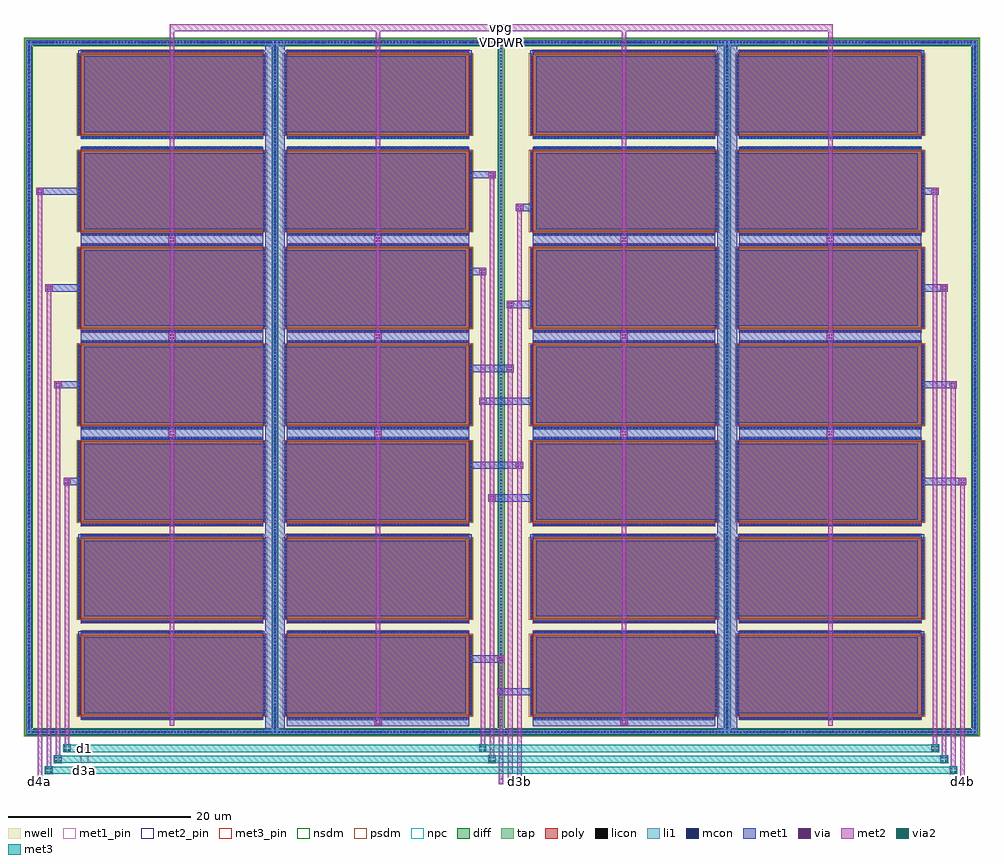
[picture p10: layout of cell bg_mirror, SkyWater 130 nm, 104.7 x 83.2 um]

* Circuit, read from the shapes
.subckt bg_mirror VDPWR d1 d2 d3a d3b d4a d4b d5 d7 vpg
XM1 VDPWR VDPWR VDPWR VDPWR sky130_fd_pr__pfet_01v8 w=8.8 l=20 m=10
XM2 VDPWR vpg d1 VDPWR sky130_fd_pr__pfet_01v8 w=8.8 l=20 m=4
XM3 VDPWR vpg d2 VDPWR sky130_fd_pr__pfet_01v8 w=8.8 l=20 m=4
XM4 VDPWR vpg d3a VDPWR sky130_fd_pr__pfet_01v8 w=8.8 l=20 m=2
XM5 VDPWR vpg d4a VDPWR sky130_fd_pr__pfet_01v8 w=8.8 l=20
XM6 d5 vpg VDPWR VDPWR sky130_fd_pr__pfet_01v8 w=8.8 l=20 m=2
XM7 d3b vpg VDPWR VDPWR sky130_fd_pr__pfet_01v8 w=8.8 l=20 m=2
XM8 d7 vpg VDPWR VDPWR sky130_fd_pr__pfet_01v8 w=8.8 l=20 m=2
XM9 d4b vpg VDPWR VDPWR sky130_fd_pr__pfet_01v8 w=8.8 l=20
.ends

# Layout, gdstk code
from math import pi, radians
import gdstk
lib = gdstk.Library(unit=1e-6, precision=1e-09)
def R(c, l, rs):  # rectangles x0, y0, x1, y1
    for r in rs: c.add(gdstk.rectangle(r[:2], r[2:], *l))
def A(c, l, x, y, w, h, nx, ny, dx, dy):  # array of equal rectangles
    R(c, l, [(x+i*dx, y+j*dy, x+i*dx+w, y+j*dy+h) for i in range(nx) for j in range(ny)])
nwell = (64, 20)
diff = (65, 20)
tap = (65, 44)
poly = (66, 20)
licon = (66, 44)
li1 = (67, 20)
mcon = (67, 44)
met1_pin = (68, 16)
met1 = (68, 20)
via = (68, 44)
met2_pin = (69, 16)
met2 = (69, 20)
via2 = (69, 44)
met3_pin = (70, 16)
met3 = (70, 20)
nsdm = (93, 44)
psdm = (94, 20)
npc = (95, 20)

sky130_fd_pr__pfet_01v8_ = lib.new_cell('sky130_fd_pr__pfet_01v8_FH8D84')
R(sky130_fd_pr__pfet_01v8_, nwell, [(-10.47,-4.9,10.47,4.9)])
R(sky130_fd_pr__pfet_01v8_, diff, [(-10.29,-4.4,10.29,4.4)])
R(sky130_fd_pr__pfet_01v8_, poly, [(-10,-4.885,10,4.885)])
A(sky130_fd_pr__pfet_01v8_, licon, -9.775, -4.805, 0.17, 0.17, 58, 2, 0.34, 9.44)
A(sky130_fd_pr__pfet_01v8_, licon, -10.23, -4.335, 0.17, 0.17, 1, 26, 0, 0.34)
A(sky130_fd_pr__pfet_01v8_, licon, 10.06, -4.335, 0.17, 0.17, 1, 26, 0, 0.34)
R(sky130_fd_pr__pfet_01v8_, li1, [(-10,-4.805,10,-4.635), (-10.23,-4.42,-10.06,4.42), (10.06,-4.42,10.23,4.42), (-10,4.635,10,4.805)])
A(sky130_fd_pr__pfet_01v8_, mcon, -9.805, -4.805, 0.17, 0.17, 55, 2, 0.36, 9.44)
A(sky130_fd_pr__pfet_01v8_, mcon, -10.23, -4.225, 0.17, 0.17, 1, 24, 0, 0.36)
A(sky130_fd_pr__pfet_01v8_, mcon, 10.06, -4.225, 0.17, 0.17, 1, 24, 0, 0.36)
R(sky130_fd_pr__pfet_01v8_, met1, [(-9.98,-4.835,9.98,-4.605), (-10.26,-4.4,-10.03,4.4), (10.03,-4.4,10.26,4.4), (-9.98,4.605,9.98,4.835)])
R(sky130_fd_pr__pfet_01v8_, psdm, [(-10.415,-4.525,10.415,4.525)])
R(sky130_fd_pr__pfet_01v8_, npc, [(-9.875,-4.905,9.875,-4.535), (-9.875,4.535,9.875,4.905)])
sky130_fd_pr__pfet_01v8_.add(gdstk.Label('G', (0,4.72), layer=67, texttype=5))
sky130_fd_pr__pfet_01v8_.add(gdstk.Label('S', (10.145,0), layer=67, texttype=5))
sky130_fd_pr__pfet_01v8_.add(gdstk.Label('D', (-10.145,0), layer=67, texttype=5))

bg_mirror_arr = lib.new_cell('bg_mirror_arr')
R(bg_mirror_arr, nwell, [(-0.25,-0.25,104.45,76.35)])
A(bg_mirror_arr, tap, 27, 0.6, 0.5, 74.9, 3, 1, 24.75, 0)
R(bg_mirror_arr, tap, [(0,0,104.2,0.6), (0,0.6,0.6,75.5), (103.6,0.6,104.2,75.5), (0,75.5,104.2,76.1)])
A(bg_mirror_arr, licon, 0.6, 0.215, 0.17, 0.17, 78, 2, 0.34, 75.5)
A(bg_mirror_arr, licon, 27.64, 0.215, 0.17, 0.17, 71, 2, 0.34, 75.5)
A(bg_mirror_arr, licon, 52.39, 0.215, 0.17, 0.17, 71, 2, 0.34, 75.5)
A(bg_mirror_arr, licon, 77.15, 0.215, 0.17, 0.17, 78, 2, 0.34, 75.5)
A(bg_mirror_arr, licon, 0.215, 0.565, 0.17, 0.17, 1, 221, 0, 0.34)
A(bg_mirror_arr, licon, 27.165, 0.565, 0.17, 0.17, 3, 221, 24.75, 0.34)
A(bg_mirror_arr, licon, 103.815, 0.565, 0.17, 0.17, 1, 221, 0, 0.34)
R(bg_mirror_arr, licon, [(0.215,0.215,0.385,0.385), (27.165,0.215,27.335,0.385), (51.915,0.215,52.085,0.385), (76.665,0.215,76.835,0.385), (103.815,0.215,103.985,0.385), (0.215,75.715,0.385,75.885), (27.165,75.715,27.335,75.885), (51.915,75.715,52.085,75.885), (76.665,75.715,76.835,75.885), (103.815,75.715,103.985,75.885)])
A(bg_mirror_arr, li1, 27, 0.6, 0.5, 74.9, 3, 1, 24.75, 0)
R(bg_mirror_arr, li1, [(0,0,104.2,0.6), (0,0.6,0.6,75.5), (103.6,0.6,104.2,75.5), (0,75.5,104.2,76.1)])
A(bg_mirror_arr, mcon, 0.73, 0.215, 0.17, 0.17, 73, 2, 0.36, 75.5)
A(bg_mirror_arr, mcon, 27.615, 0.215, 0.17, 0.17, 136, 2, 0.36, 75.5)
A(bg_mirror_arr, mcon, 77.1, 0.215, 0.17, 0.17, 74, 2, 0.36, 75.5)
A(bg_mirror_arr, mcon, 0.215, 0.705, 0.17, 0.17, 1, 208, 0, 0.36)
A(bg_mirror_arr, mcon, 27.165, 0.705, 0.17, 0.17, 1, 208, 0, 0.36)
A(bg_mirror_arr, mcon, 76.665, 0.705, 0.17, 0.17, 1, 208, 0, 0.36)
A(bg_mirror_arr, mcon, 103.815, 0.705, 0.17, 0.17, 1, 208, 0, 0.36)
R(bg_mirror_arr, mcon, [(0.215,0.215,0.385,0.385), (27.165,0.215,27.335,0.385), (76.665,0.215,76.835,0.385), (103.815,0.215,103.985,0.385), (0.215,75.715,0.385,75.885), (27.165,75.715,27.335,75.885), (76.665,75.715,76.835,75.885), (103.815,75.715,103.985,75.885)])
A(bg_mirror_arr, met1, 6.36, 2.35, 41.78, 8.3, 1, 7, 0, 10.6)
A(bg_mirror_arr, met1, 55.86, 2.35, 41.78, 8.3, 1, 7, 0, 10.6)
A(bg_mirror_arr, met1, 26.16, 31.85, 2.18, 2.3, 1, 4, 0, 10.6)
A(bg_mirror_arr, met1, 75.66, 31.85, 2.18, 2.3, 1, 4, 0, 10.6)
A(bg_mirror_arr, met1, 5.98, 32.305, 19.96, 1.39, 1, 3, 0, 10.6)
A(bg_mirror_arr, met1, 28.56, 32.305, 19.96, 1.39, 1, 3, 0, 10.6)
A(bg_mirror_arr, met1, 55.48, 32.305, 19.96, 1.39, 1, 3, 0, 10.6)
A(bg_mirror_arr, met1, 78.06, 32.305, 19.96, 1.39, 1, 3, 0, 10.6)
R(bg_mirror_arr, met1, [(0,0,104.2,0.6), (0,0.6,0.6,75.5), (26.16,0.6,28.34,2.35), (75.66,0.6,77.84,2.35), (103.6,0.6,104.2,75.5), (28.56,0.905,48.52,1.895), (55.48,0.905,75.44,1.895), (51.6,4.3,55.43,5.1), (48.57,7.9,52.4,8.7), (26.16,10.65,28.34,11.105), (75.66,10.65,77.84,11.105), (5.7,10.8,6.06,11.335), (97.94,10.8,98.3,11.335), (25.86,11.105,28.34,11.335), (75.66,11.105,78.14,11.335), (26.16,11.335,28.34,12.95), (75.66,11.335,77.84,12.95), (26.16,21.25,28.34,21.705), (75.66,21.25,77.84,21.705), (5.7,21.4,6.06,21.935), (48.44,21.4,48.8,21.935), (55.2,21.4,55.56,21.935), (97.94,21.4,98.3,21.935), (25.86,21.705,28.64,21.935), (75.36,21.705,78.14,21.935), (26.16,21.935,28.34,23.55), (75.66,21.935,77.84,23.55), (50.6,25.5,55.43,26.3), (4.1,27.3,5.93,28.1), (98.07,27.3,102.9,28.1), (48.57,29.1,54.4,29.9), (49.6,36.1,55.43,36.9), (3.1,37.9,5.93,38.7), (98.07,37.9,101.9,38.7), (48.57,39.7,53.4,40.5), (52.6,46.7,55.43,47.5), (2.1,48.5,5.93,49.3), (98.07,48.5,100.9,49.3), (48.57,50.3,50.4,51.1), (53.6,57.3,55.43,58.1), (1.1,59.1,5.93,59.9), (98.07,59.1,99.9,59.9), (48.57,60.9,51.4,61.7), (26.16,74.25,28.34,74.705), (75.66,74.25,77.84,74.705), (5.7,74.4,6.06,74.935), (48.44,74.4,48.8,74.935), (55.2,74.4,55.56,74.935), (97.94,74.4,98.3,74.935), (25.86,74.705,28.64,74.935), (75.36,74.705,78.14,74.935), (26.16,74.935,28.34,75.5), (75.66,74.935,77.84,75.5), (0,75.5,104.2,76.1)])
R(bg_mirror_arr, via, [(38.305,1.165,38.455,1.315), (38.625,1.165,38.775,1.315), (65.225,1.165,65.375,1.315), (65.545,1.165,65.695,1.315), (38.305,1.485,38.455,1.635), (38.625,1.485,38.775,1.635), (65.225,1.485,65.375,1.635), (65.545,1.485,65.695,1.635), (51.765,4.465,51.915,4.615), (52.085,4.465,52.235,4.615), (51.765,4.785,51.915,4.935), (52.085,4.785,52.235,4.935), (51.765,8.065,51.915,8.215), (52.085,8.065,52.235,8.215), (51.765,8.385,51.915,8.535), (52.085,8.385,52.235,8.535), (50.765,25.665,50.915,25.815), (51.085,25.665,51.235,25.815), (50.765,25.985,50.915,26.135), (51.085,25.985,51.235,26.135), (4.265,27.465,4.415,27.615), (4.585,27.465,4.735,27.615), (102.265,27.465,102.415,27.615), (102.585,27.465,102.735,27.615), (4.265,27.785,4.415,27.935), (4.585,27.785,4.735,27.935), (102.265,27.785,102.415,27.935), (102.585,27.785,102.735,27.935), (53.765,29.265,53.915,29.415), (54.085,29.265,54.235,29.415), (53.765,29.585,53.915,29.735), (54.085,29.585,54.235,29.735), (15.725,32.765,15.875,32.915), (16.045,32.765,16.195,32.915), (38.305,32.765,38.455,32.915), (38.625,32.765,38.775,32.915), (65.225,32.765,65.375,32.915), (65.545,32.765,65.695,32.915), (87.805,32.765,87.955,32.915), (88.125,32.765,88.275,32.915), (15.725,33.085,15.875,33.235), (16.045,33.085,16.195,33.235), (38.305,33.085,38.455,33.235), (38.625,33.085,38.775,33.235), (65.225,33.085,65.375,33.235), (65.545,33.085,65.695,33.235), (87.805,33.085,87.955,33.235), (88.125,33.085,88.275,33.235), (49.765,36.265,49.915,36.415), (50.085,36.265,50.235,36.415), (49.765,36.585,49.915,36.735), (50.085,36.585,50.235,36.735), (3.265,38.065,3.415,38.215), (3.585,38.065,3.735,38.215), (101.265,38.065,101.415,38.215), (101.585,38.065,101.735,38.215), (3.265,38.385,3.415,38.535), (3.585,38.385,3.735,38.535), (101.265,38.385,101.415,38.535), (101.585,38.385,101.735,38.535), (52.765,39.865,52.915,40.015), (53.085,39.865,53.235,40.015), (52.765,40.185,52.915,40.335), (53.085,40.185,53.235,40.335), (15.725,43.365,15.875,43.515), (16.045,43.365,16.195,43.515), (38.305,43.365,38.455,43.515), (38.625,43.365,38.775,43.515), (65.225,43.365,65.375,43.515), (65.545,43.365,65.695,43.515), (87.805,43.365,87.955,43.515), (88.125,43.365,88.275,43.515), (15.725,43.685,15.875,43.835), (16.045,43.685,16.195,43.835), (38.305,43.685,38.455,43.835), (38.625,43.685,38.775,43.835), (65.225,43.685,65.375,43.835), (65.545,43.685,65.695,43.835), (87.805,43.685,87.955,43.835), (88.125,43.685,88.275,43.835), (52.765,46.865,52.915,47.015), (53.085,46.865,53.235,47.015), (52.765,47.185,52.915,47.335), (53.085,47.185,53.235,47.335), (2.265,48.665,2.415,48.815), (2.585,48.665,2.735,48.815), (100.265,48.665,100.415,48.815), (100.585,48.665,100.735,48.815), (2.265,48.985,2.415,49.135), (2.585,48.985,2.735,49.135), (100.265,48.985,100.415,49.135), (100.585,48.985,100.735,49.135), (49.765,50.465,49.915,50.615), (50.085,50.465,50.235,50.615), (49.765,50.785,49.915,50.935), (50.085,50.785,50.235,50.935), (15.725,53.965,15.875,54.115), (16.045,53.965,16.195,54.115), (38.305,53.965,38.455,54.115), (38.625,53.965,38.775,54.115), (65.225,53.965,65.375,54.115), (65.545,53.965,65.695,54.115), (87.805,53.965,87.955,54.115), (88.125,53.965,88.275,54.115), (15.725,54.285,15.875,54.435), (16.045,54.285,16.195,54.435), (38.305,54.285,38.455,54.435), (38.625,54.285,38.775,54.435), (65.225,54.285,65.375,54.435), (65.545,54.285,65.695,54.435), (87.805,54.285,87.955,54.435), (88.125,54.285,88.275,54.435), (53.765,57.465,53.915,57.615), (54.085,57.465,54.235,57.615), (53.765,57.785,53.915,57.935), (54.085,57.785,54.235,57.935), (1.265,59.265,1.415,59.415), (1.585,59.265,1.735,59.415), (99.265,59.265,99.415,59.415), (99.585,59.265,99.735,59.415), (1.265,59.585,1.415,59.735), (1.585,59.585,1.735,59.735), (99.265,59.585,99.415,59.735), (99.585,59.585,99.735,59.735), (50.765,61.065,50.915,61.215), (51.085,61.065,51.235,61.215), (50.765,61.385,50.915,61.535), (51.085,61.385,51.235,61.535)])
A(bg_mirror_arr, met2, 15.56, 32.6, 0.8, 0.8, 1, 3, 0, 10.6)
A(bg_mirror_arr, met2, 38.14, 32.6, 0.8, 0.8, 1, 3, 0, 10.6)
A(bg_mirror_arr, met2, 65.06, 32.6, 0.8, 0.8, 1, 3, 0, 10.6)
A(bg_mirror_arr, met2, 87.64, 32.6, 0.8, 0.8, 1, 3, 0, 10.6)
R(bg_mirror_arr, met2, [(15.71,1,16.21,32.6), (38.14,1,38.94,1.8), (65.06,1,65.86,1.8), (87.79,1,88.29,32.6), (38.29,1.8,38.79,32.6), (65.21,1.8,65.71,32.6), (51.6,4.3,52.4,5.1), (51.6,7.9,52.4,8.7), (50.6,25.5,51.4,26.3), (4.1,27.3,4.9,28.1), (102.1,27.3,102.9,28.1), (53.6,29.1,54.4,29.9), (15.71,33.4,16.21,43.2), (38.29,33.4,38.79,43.2), (65.21,33.4,65.71,43.2), (87.79,33.4,88.29,43.2), (49.6,36.1,50.4,36.9), (3.1,37.9,3.9,38.7), (101.1,37.9,101.9,38.7), (52.6,39.7,53.4,40.5), (15.71,44,16.21,53.8), (38.29,44,38.79,53.8), (65.21,44,65.71,53.8), (87.79,44,88.29,53.8), (52.6,46.7,53.4,47.5), (2.1,48.5,2.9,49.3), (100.1,48.5,100.9,49.3), (49.6,50.3,50.4,51.1), (15.71,54.6,16.21,77), (38.29,54.6,38.79,77), (65.21,54.6,65.71,77), (87.79,54.6,88.29,77), (53.6,57.3,54.4,58.1), (1.1,59.1,1.9,59.9), (99.1,59.1,99.9,59.9), (50.6,60.9,51.4,61.7), (15.71,77,88.29,77.8)])
A(bg_mirror_arr, nsdm, 26.875, 0.725, 0.75, 74.65, 3, 1, 24.75, 0)
R(bg_mirror_arr, nsdm, [(-0.125,-0.125,104.325,0.725), (-0.125,0.725,0.725,75.375), (103.475,0.725,104.325,75.375), (-0.125,75.375,104.325,76.225)])
bg_mirror_arr.add(gdstk.Reference(sky130_fd_pr__pfet_01v8_, (65.46,48.9)))
bg_mirror_arr.add(gdstk.Reference(sky130_fd_pr__pfet_01v8_, (65.46,6.5)))
bg_mirror_arr.add(gdstk.Reference(sky130_fd_pr__pfet_01v8_, (15.96,59.5)))
bg_mirror_arr.add(gdstk.Reference(sky130_fd_pr__pfet_01v8_, (88.04,27.7), rotation=pi, x_reflection=True))
bg_mirror_arr.add(gdstk.Reference(sky130_fd_pr__pfet_01v8_, (88.04,38.3), rotation=pi, x_reflection=True))
bg_mirror_arr.add(gdstk.Reference(sky130_fd_pr__pfet_01v8_, (15.96,48.9)))
bg_mirror_arr.add(gdstk.Reference(sky130_fd_pr__pfet_01v8_, (38.54,59.5), rotation=pi, x_reflection=True))
bg_mirror_arr.add(gdstk.Reference(sky130_fd_pr__pfet_01v8_, (88.04,59.5), rotation=pi, x_reflection=True))
bg_mirror_arr.add(gdstk.Reference(sky130_fd_pr__pfet_01v8_, (38.54,38.3), rotation=pi, x_reflection=True))
bg_mirror_arr.add(gdstk.Reference(sky130_fd_pr__pfet_01v8_, (38.54,27.7), rotation=pi, x_reflection=True))
bg_mirror_arr.add(gdstk.Reference(sky130_fd_pr__pfet_01v8_, (15.96,6.5)))
bg_mirror_arr.add(gdstk.Reference(sky130_fd_pr__pfet_01v8_, (15.96,38.3)))
bg_mirror_arr.add(gdstk.Reference(sky130_fd_pr__pfet_01v8_, (65.46,17.1)))
bg_mirror_arr.add(gdstk.Reference(sky130_fd_pr__pfet_01v8_, (15.96,17.1)))
bg_mirror_arr.add(gdstk.Reference(sky130_fd_pr__pfet_01v8_, (15.96,70.1)))
bg_mirror_arr.add(gdstk.Reference(sky130_fd_pr__pfet_01v8_, (38.54,17.1), rotation=pi, x_reflection=True))
bg_mirror_arr.add(gdstk.Reference(sky130_fd_pr__pfet_01v8_, (15.96,27.7)))
bg_mirror_arr.add(gdstk.Reference(sky130_fd_pr__pfet_01v8_, (65.46,38.3)))
bg_mirror_arr.add(gdstk.Reference(sky130_fd_pr__pfet_01v8_, (65.46,27.7)))
bg_mirror_arr.add(gdstk.Reference(sky130_fd_pr__pfet_01v8_, (38.54,70.1), rotation=pi, x_reflection=True))
bg_mirror_arr.add(gdstk.Reference(sky130_fd_pr__pfet_01v8_, (38.54,6.5), rotation=pi, x_reflection=True))
bg_mirror_arr.add(gdstk.Reference(sky130_fd_pr__pfet_01v8_, (38.54,48.9), rotation=pi, x_reflection=True))
bg_mirror_arr.add(gdstk.Reference(sky130_fd_pr__pfet_01v8_, (65.46,70.1)))
bg_mirror_arr.add(gdstk.Reference(sky130_fd_pr__pfet_01v8_, (88.04,6.5), rotation=pi, x_reflection=True))
bg_mirror_arr.add(gdstk.Reference(sky130_fd_pr__pfet_01v8_, (65.46,59.5)))
bg_mirror_arr.add(gdstk.Reference(sky130_fd_pr__pfet_01v8_, (88.04,48.9), rotation=pi, x_reflection=True))
bg_mirror_arr.add(gdstk.Reference(sky130_fd_pr__pfet_01v8_, (88.04,17.1), rotation=pi, x_reflection=True))
bg_mirror_arr.add(gdstk.Reference(sky130_fd_pr__pfet_01v8_, (88.04,70.1), rotation=pi, x_reflection=True))

bg_mirror = lib.new_cell('bg_mirror')
R(bg_mirror, met1_pin, [(51.6,75.6,52.4,76)])
R(bg_mirror, met1, [(51,75.5,53,76.1)])
A(bg_mirror, met2_pin, 51.75, -5.4, 0.5, 0.6, 3, 1, 1, 0)
R(bg_mirror, met2_pin, [(1.25,-5.4,1.75,-4.8), (102.25,-5.4,102.75,-4.8), (51.6,77,52.4,77.8)])
R(bg_mirror, met2, [(1.25,-5.4,1.75,59.9), (51.75,-5.4,52.25,8.7), (52.75,-5.4,53.25,47.5), (53.75,-5.4,54.25,58.1), (102.25,-5.4,102.75,28.1), (2.1,-4.3,2.9,-3.5), (101.1,-4.3,101.9,-3.5), (2.25,-3.5,2.75,49.3), (101.25,-3.5,101.75,38.7), (3.1,-3.1,3.9,-2.3), (50.6,-3.1,51.4,-2.3), (100.1,-3.1,100.9,-2.3), (3.25,-2.3,3.75,38.7), (50.75,-2.3,51.25,61.7), (100.25,-2.3,100.75,49.3), (4.1,-1.9,4.9,-1.1), (49.6,-1.9,50.4,-1.1), (99.1,-1.9,99.9,-1.1), (4.25,-1.1,4.75,28.1), (49.75,-1.1,50.25,51.1), (99.25,-1.1,99.75,59.9), (51.6,77,52.4,77.8)])
R(bg_mirror, via2, [(2.2,-4.2,2.4,-4), (2.6,-4.2,2.8,-4), (101.2,-4.2,101.4,-4), (101.6,-4.2,101.8,-4), (2.2,-3.8,2.4,-3.6), (2.6,-3.8,2.8,-3.6), (101.2,-3.8,101.4,-3.6), (101.6,-3.8,101.8,-3.6), (3.2,-3,3.4,-2.8), (3.6,-3,3.8,-2.8), (50.7,-3,50.9,-2.8), (51.1,-3,51.3,-2.8), (100.2,-3,100.4,-2.8), (100.6,-3,100.8,-2.8), (3.2,-2.6,3.4,-2.4), (3.6,-2.6,3.8,-2.4), (50.7,-2.6,50.9,-2.4), (51.1,-2.6,51.3,-2.4), (100.2,-2.6,100.4,-2.4), (100.6,-2.6,100.8,-2.4), (4.2,-1.8,4.4,-1.6), (4.6,-1.8,4.8,-1.6), (49.7,-1.8,49.9,-1.6), (50.1,-1.8,50.3,-1.6), (99.2,-1.8,99.4,-1.6), (99.6,-1.8,99.8,-1.6), (4.2,-1.4,4.4,-1.2), (4.6,-1.4,4.8,-1.2), (49.7,-1.4,49.9,-1.2), (50.1,-1.4,50.3,-1.2), (99.2,-1.4,99.4,-1.2), (99.6,-1.4,99.8,-1.2)])
A(bg_mirror, met3_pin, 6, -4.3, 0.8, 0.8, 1, 3, 0, 1.2)
R(bg_mirror, met3, [(2.05,-4.35,2.95,-4.3), (101.05,-4.35,101.95,-4.3), (2.05,-4.3,101.95,-3.5), (2.05,-3.5,2.95,-3.45), (101.05,-3.5,101.95,-3.45), (3.05,-3.15,3.95,-3.1), (50.55,-3.15,51.45,-3.1), (100.05,-3.15,100.95,-3.1), (3.05,-3.1,100.95,-2.3), (3.05,-2.3,3.95,-2.25), (50.55,-2.3,51.45,-2.25), (100.05,-2.3,100.95,-2.25), (4.05,-1.95,4.95,-1.9), (49.55,-1.95,50.45,-1.9), (99.05,-1.95,99.95,-1.9), (4.05,-1.9,99.95,-1.1), (4.05,-1.1,4.95,-1.05), (49.55,-1.1,50.45,-1.05), (99.05,-1.1,99.95,-1.05)])
bg_mirror.add(gdstk.Reference(bg_mirror_arr, (0,0)))
bg_mirror.add(gdstk.Label('vpg', (52,77.4), layer=69, texttype=5))
bg_mirror.add(gdstk.Label('d3b', (54,-5.1), layer=69, texttype=5))
bg_mirror.add(gdstk.Label('d4b', (102.5,-5.1), layer=69, texttype=5))
bg_mirror.add(gdstk.Label('d7', (53,-5.1), layer=69, texttype=5))
bg_mirror.add(gdstk.Label('d5', (52,-5.1), layer=69, texttype=5))
bg_mirror.add(gdstk.Label('d4a', (1.5,-5.1), layer=69, texttype=5))
bg_mirror.add(gdstk.Label('VDPWR', (52,75.8), layer=68, texttype=5))
bg_mirror.add(gdstk.Label('d3a', (6.4,-3.9), layer=70, texttype=5))
bg_mirror.add(gdstk.Label('d2', (6.4,-2.7), layer=70, texttype=5))
bg_mirror.add(gdstk.Label('d1', (6.4,-1.5), layer=70, texttype=5))

lib.write_gds('bg_mirror.gds')
